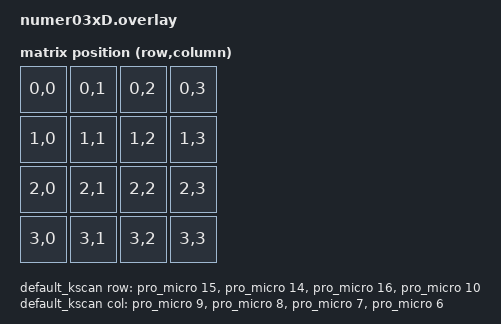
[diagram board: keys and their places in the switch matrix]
#include <dt-bindings/zmk/matrix_transform.h> // Put this with the other includes at the top of your
#include <physical_layouts.dtsi>


/ {  
    default_kscan: kscan {
        compatible = "zmk,kscan-gpio-matrix";
        label = "default_kscan";
        diode-direction = "col2row";
        poll-period-ms = <20>;

        row-gpios = <&pro_micro 15 (GPIO_ACTIVE_HIGH | GPIO_PULL_DOWN)>,
                    <&pro_micro 14 (GPIO_ACTIVE_HIGH | GPIO_PULL_DOWN)>,
                    <&pro_micro 16 (GPIO_ACTIVE_HIGH | GPIO_PULL_DOWN)>,
                    <&pro_micro 10 (GPIO_ACTIVE_HIGH | GPIO_PULL_DOWN)>;

        col-gpios = <&pro_micro 9 GPIO_ACTIVE_HIGH>,
                    <&pro_micro 8 GPIO_ACTIVE_HIGH>,
                    <&pro_micro 7 GPIO_ACTIVE_HIGH>,
                    <&pro_micro 6 GPIO_ACTIVE_HIGH>;
    };
    
    default_transform: matrix_transform {
        compatible = "zmk,matrix-transform";
        rows = <4>;
        columns = <4>;

        map = <
            RC(0,0) RC(0,1) RC(0,2) RC(0,3)
            RC(1,0) RC(1,1) RC(1,2) RC(1,3)
            RC(2,0) RC(2,1) RC(2,2) RC(2,3)
            RC(3,0) RC(3,1) RC(3,2) RC(3,3)
        >;
    };
    
    
    physical_layout0: physical_layout_0 { // Physical-layout to be chosen in the chosen node
        compatible = "zmk,physical-layout"; // Required
        display-name = "Default Layout"; // Required
        transform = <&default_transform>; // Required, Label of the matrix transform for this layout
        kscan = <&default_kscan>; // Optional, Label of the kscan node
        
        keys  //                     w   h     x    y     rot    rx    ry
            = <&key_physical_attrs 100 100     0   0       0     0     0> // Row 1
            , <&key_physical_attrs 100 100   100   0       0     0     0>
            , <&key_physical_attrs 100 100   200   0       0     0     0>
            , <&key_physical_attrs 100 100   300   0       0     0     0>
            , <&key_physical_attrs 100 100     0   100     0     0     0> // Row 2
            , <&key_physical_attrs 100 100   100   100     0     0     0>
            , <&key_physical_attrs 100 100   200   100     0     0     0>
            , <&key_physical_attrs 100 100   300   100     0     0     0>
            , <&key_physical_attrs 100 100     0   200     0     0     0> // Row 3
            , <&key_physical_attrs 100 100   100   200     0     0     0>
            , <&key_physical_attrs 100 100   200   200     0     0     0>
            , <&key_physical_attrs 100 100   300   200     0     0     0>
            , <&key_physical_attrs 100 100     0   300     0     0     0> // Row 4
            , <&key_physical_attrs 100 100   100   300     0     0     0>
            , <&key_physical_attrs 100 100   200   300     0     0     0>
            , <&key_physical_attrs 100 100   300   300     0     0     0>
            ;
    };
    
    chosen {
        zmk,kscan = &default_kscan;// Required if it's the default kscan for all physical layouts
        zmk,physical-layout = &physical_layout0;
    };    
};

